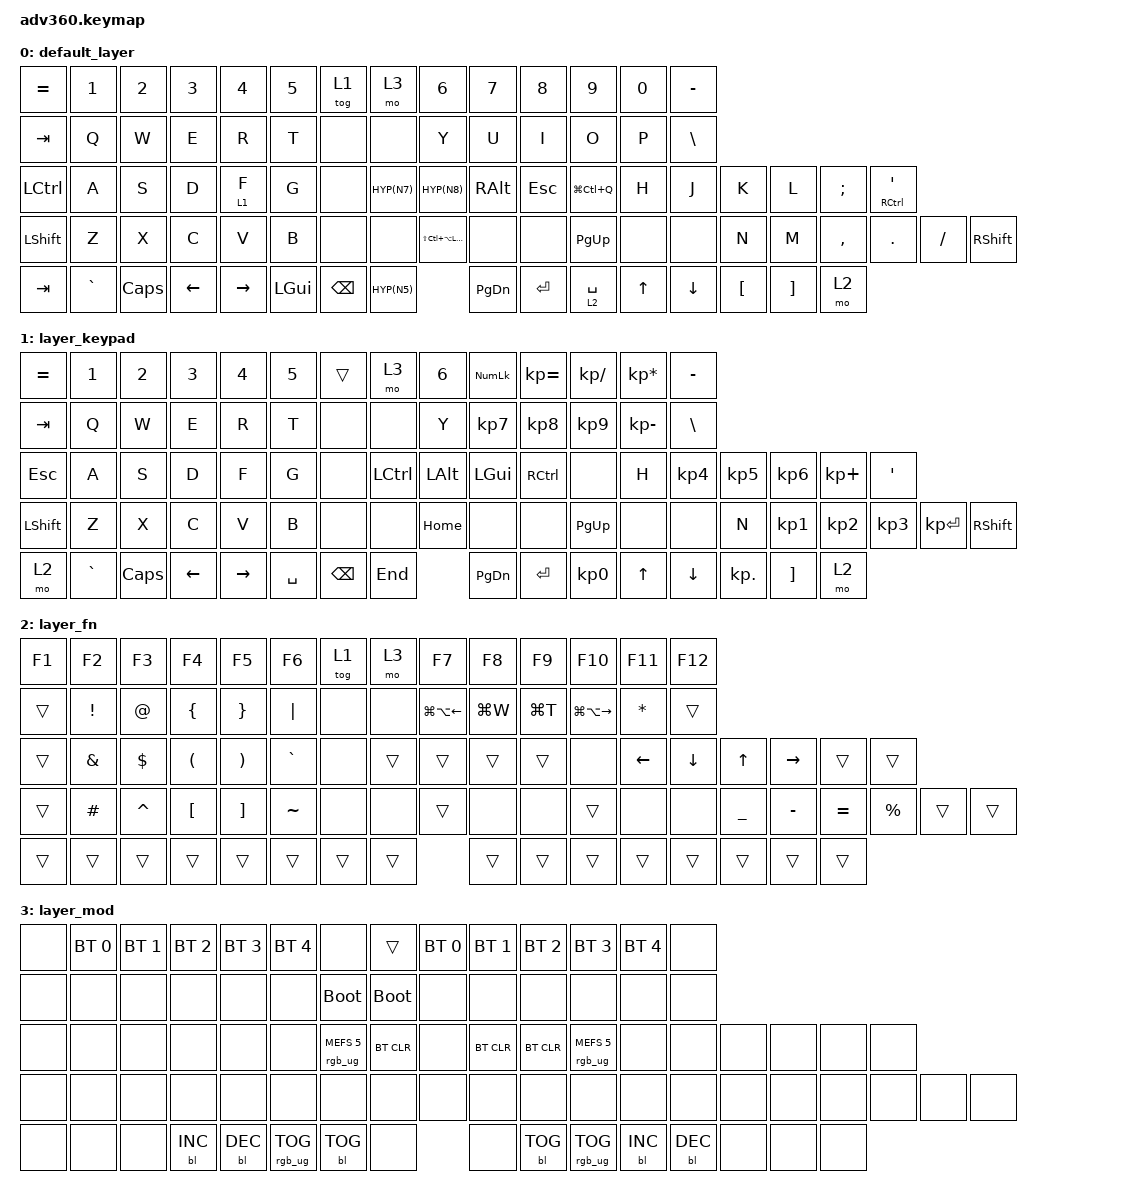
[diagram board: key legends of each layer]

/*
 * Copyright (c) 2020 The ZMK Contributors
 *
 * SPDX-License-Identifier: MIT
 */


/* THIS FILE WAS GENERATED!
 *
 * This file was generated automatically. You may or may not want to
 * edit it directly.First change to initiate the build
 */

#include <behaviors.dtsi>
#include <dt-bindings/zmk/keys.h>
#include <dt-bindings/zmk/bt.h>
#include <dt-bindings/zmk/rgb.h>
#include <dt-bindings/zmk/backlight.h>

#define HYP(key) LS(LC(LA(LG(key))))
#define HYPER    LS(LC(LA(LGUI)))

#define MACLOCK  LG(LC(Q))

#define BROWSER_SEARCH LG(F) 
#define BROWSER_NEWTAB LG(T) 
#define BROWSER_CLOSETTAB LG(W) 
#define BROWSER_NEXTTAB LG(LA(RIGHT))
#define BROWSER_PREVTAB LG(LA(LEFT))

&mt {
    tapping-term-ms = <210>;
    flavor = "tap-preferred";
};

&lt {
    quick_tap_ms = <200>;
};

/ {
  behaviors {
    #include "macros.dtsi"

    hm: homerow_mods {
        compatible = "zmk,behavior-hold-tap";
        label = "HOMEROW_MODS";
        #binding-cells = <2>;
        tapping-term-ms = <200>;
        quick_tap_ms = <175>;
        flavor = "tap-preferred";
        bindings = <&kp>, <&kp>;
    };
  };

  keymap {
        compatible = "zmk,keymap";

        default_layer {
            bindings = <
 &kp EQUAL     &kp N1  &kp N2  &kp N3 &kp N4   &kp N5     &tog 1     &mo 3        &kp N6       &kp N7     &kp N8      &kp N9      &kp N0   &kp MINUS
 &kp TAB       &kp Q   &kp W   &kp E  &kp R    &kp T      &none      &none        &kp Y        &kp U      &kp I       &kp O       &kp P    &kp BSLH
 &kp LCTRL     &kp A   &kp S   &kp D  &lt 1 F  &kp G      &none      &kp HYP(N7)  &kp HYP(N8)  &kp RALT   &kp ESC     &kp MACLOCK &kp H    &kp J     &kp K    &kp L  &kp SEMI   &mt RCTRL SQT
 &kp LSHFT     &kp Z   &kp X   &kp C  &kp V    &kp B      &none      &none        &kp HYPER    &none      &none       &kp PG_UP   &none    &none     &kp N    &kp M  &kp COMMA  &kp DOT       &kp FSLH &kp RSHFT
 &kp TAB       &kp GRAVE  &kp CAPS  &kp LEFT  &kp RIGHT  &kp LGUI   &kp BSPC   &kp HYP(N5)  &kp PG_DN    &kp ENTER  &lt 2 SPACE &kp UP      &kp DOWN &kp LBKT  &kp RBKT &mo 2
            >;
        };

        layer_keypad {
            bindings = <
 &kp EQUAL     &kp N1    &kp N2    &kp N3     &kp N4    &kp N5    &trans      &mo 3     &kp N6  &kp KP_NUM  &kp KP_EQUAL  &kp KP_DIVIDE  &kp KP_MULTIPLY   &kp MINUS
   &kp TAB      &kp Q     &kp W     &kp E      &kp R     &kp T     &none      &none      &kp Y   &kp KP_N7     &kp KP_N8      &kp KP_N9     &kp KP_MINUS    &kp BSLH
   &kp ESC      &kp A     &kp S     &kp D      &kp F     &kp G     &none  &kp LCTRL   &kp LALT                                 &kp LGUI        &kp RCTRL       &none     &kp H  &kp KP_N4  &kp KP_N5  &kp KP_N6   &kp KP_PLUS    &kp SQT
 &kp LSHFT      &kp Z     &kp X     &kp C      &kp V     &kp B     &none      &none   &kp HOME       &none         &none      &kp PG_UP            &none       &none     &kp N  &kp KP_N1  &kp KP_N2  &kp KP_N3  &kp KP_ENTER  &kp RSHFT
     &mo 2  &kp GRAVE  &kp CAPS  &kp LEFT  &kp RIGHT  &kp SPACE   &kp BSPC    &kp END  &kp PG_DN   &kp ENTER     &kp KP_N0         &kp UP         &kp DOWN  &kp KP_DOT  &kp RBKT      &mo 2
            >;
        };

        layer_fn {
            bindings = <
 &kp F1  &kp F2    &kp F3     &kp F4    &kp F5    &kp F6     &tog 1   &mo 3   &kp F7  &kp F8  &kp F9  &kp F10  &kp F11  &kp F12
 &trans  &kp EXCL  &kp AT     &kp LBRC  &kp RBRC  &kp PIPE   &none        	                                        &none  &kp BROWSER_PREVTAB &kp BROWSER_CLOSETTAB  &kp BROWSER_NEWTAB  &kp BROWSER_NEXTTAB  &kp ASTERISK  &trans
 &trans  &kp AMPS  &kp DOLLAR &kp LPAR  &kp RPAR  &kp GRAVE  &none    &trans  &trans                  &trans   &trans   &none  &kp LEFT            &kp DOWN               &kp UP              &kp RIGHT            &trans        &trans
 &trans  &kp HASH  &kp CARET  &kp LBKT  &kp RBKT  &kp TILDE  &none    &none   &trans  &none   &none   &trans   &none    &none  &kp UNDER           &kp MINUS              &kp EQUAL           &kp PERCENT          &trans        &trans
 &trans  &trans    &trans     &trans    &trans    &trans     &trans   &trans  &trans  &trans                                   &trans              &trans                 &trans              &trans               &trans        &trans
            >;
        };


        layer_mod {
            bindings = <
  &none  &bt BT_SEL 0  &bt BT_SEL 1  &bt BT_SEL 2  &bt BT_SEL 3     &bt BT_SEL 4                             &none       &trans  &bt BT_SEL 0  &bt BT_SEL 1     &bt BT_SEL 2  &bt BT_SEL 3  &bt BT_SEL 4                   &none
  &none         &none         &none         &none         &none            &none                       &bootloader  &bootloader         &none         &none            &none         &none         &none                   &none
  &none         &none         &none         &none         &none            &none            &rgb_ug RGB_MEFS_CMD 5   &bt BT_CLR         &none                                   &bt BT_CLR    &bt BT_CLR  &rgb_ug RGB_MEFS_CMD 5   &none   &none   &none   &none   &none   &none
  &none         &none         &none         &none         &none            &none                             &none        &none         &none         &none            &none         &none         &none                   &none   &none   &none   &none   &none   &none   &none
  &none         &none         &none    &bl BL_INC    &bl BL_DEC  &rgb_ug RGB_TOG                        &bl BL_TOG        &none         &none    &bl BL_TOG  &rgb_ug RGB_TOG    &bl BL_INC    &bl BL_DEC                   &none   &none   &none
            >;
        };

    };
};
